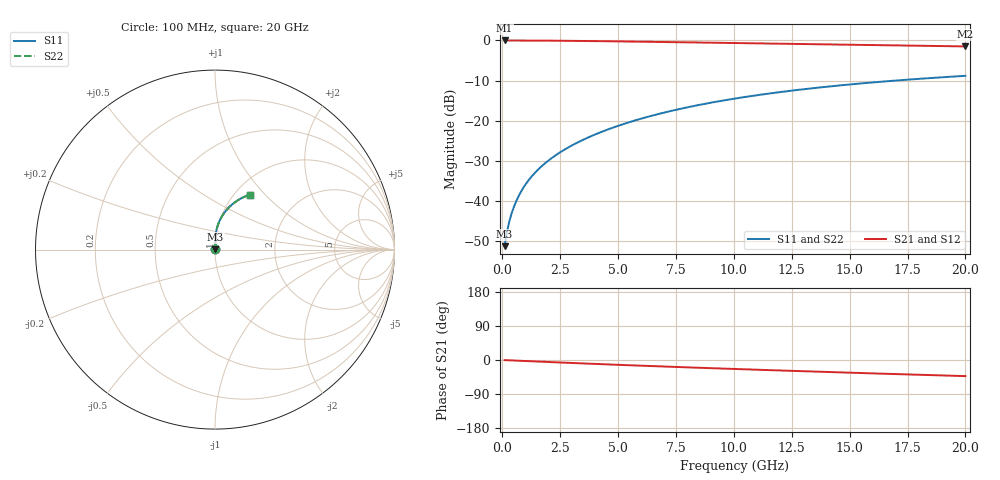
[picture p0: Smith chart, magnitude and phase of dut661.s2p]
! Touchstone file exported from HFSS 2024.1.0
!  File:  C:/UserFiles/LocalFiles/RDL_TSV_Batchsim/temp_RDL_bottom_661_1779785765.aedt
!  Generated:  04:58:25 PM May 26, 2026
!  Design:  RDL_bottom
!  Project:  temp_RDL_bottom_661_1779785765
!  Setup:  Setup1
!  Solution:  Sweep
! Variables:
!  dtsv = 10.80580581um
!  hbump = 3um
!  htsv = 77.45um
!  ldown = 596.68um
!  lrdl = 100um
!  p = 40
!  p1 = 59.64um
!  rhole = 1um
!  t = 450um
!  tdown = 4.08um
!  trdl = 3.915915916um
!  wdown = 27.66um
!  wrdl = 20um
# GHz S MA R 50.000000
! Terminal data exported
! Port[1] = RDL1_T1
! Port[2] = RDL1_T2
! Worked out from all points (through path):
!   200 points, 100 MHz to 20 GHz, reference 50 ohm
!   highest |S21| = -0.02 dB at 100 MHz (marker M1); lowest = -1.5 dB at 20 GHz (marker M2)
!   group delay of S21, straight-line fit = 5.83 ps
!   lowest |S11| = -51.2 dB at 100 MHz (marker M3), VSWR 1.01, Z = 50.2 + j0.177 ohm
!   |S11| at or under -10 dB: start of sweep to 17 GHz
!   |S22| runs from -51.2 to -8.8 dB; largest |S21 - S12| = 2e-15
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0.1  0.002742 40.1  0.9979 -0.3  0.9979 -0.3  0.002742 40.1
! Gamma 0 0 0 0
! Port Impedance 50 0 50 0
0.2  0.004092 56.8  0.9977 -0.6  0.9977 -0.6  0.004092 56.8
0.3  0.005524 64.7  0.9975 -0.8  0.9975 -0.8  0.005524 64.7
0.4  0.006973 69.6  0.9973 -1.1  0.9973 -1.1  0.006974 69.6
0.5  0.008441 73.0  0.9971 -1.4  0.9971 -1.4  0.008441 73.0
0.6  0.009928 75.5  0.997 -1.6  0.997 -1.6  0.009928 75.5
0.8  0.01295 79.0  0.9965 -2.1  0.9965 -2.1  0.01295 79.0
1.1  0.01759 82.1  0.9958 -2.9  0.9958 -2.9  0.01759 82.1
1.5  0.02392 84.5  0.9945 -4.0  0.9945 -4.0  0.02392 84.5
2.1  0.03371 86.5  0.9919 -5.6  0.9919 -5.6  0.03371 86.5
2.7  0.04388 87.5  0.9887 -7.1  0.9887 -7.1  0.04387 87.4
3.5  0.05804 87.9  0.9834 -9.1  0.9834 -9.1  0.05803 87.9
4.2  0.07098 87.8  0.9782 -10.8  0.9782 -10.8  0.07096 87.8
5  0.08632 87.2  0.9718 -12.7  0.9718 -12.7  0.0863 87.2
5.9  0.1041 86.1  0.9641 -14.8  0.9641 -14.8  0.1041 86.1
6.8  0.1224 84.7  0.9562 -16.8  0.9562 -16.8  0.1223 84.7
8.4  0.1551 81.7  0.942 -20.3  0.942 -20.3  0.1551 81.7
10.1  0.1897 78.2  0.9269 -23.8  0.9269 -23.8  0.1896 78.1
11.7  0.2214 74.7  0.9127 -27.1  0.9127 -27.1  0.2213 74.7
13.4  0.2537 71.0  0.8978 -30.4  0.8978 -30.4  0.2536 71.0
16.7  0.3114 64.1  0.869 -36.6  0.869 -36.6  0.3112 64.1
20  0.362 57.7  0.8409 -42.5  0.8409 -42.5  0.3618 57.6
